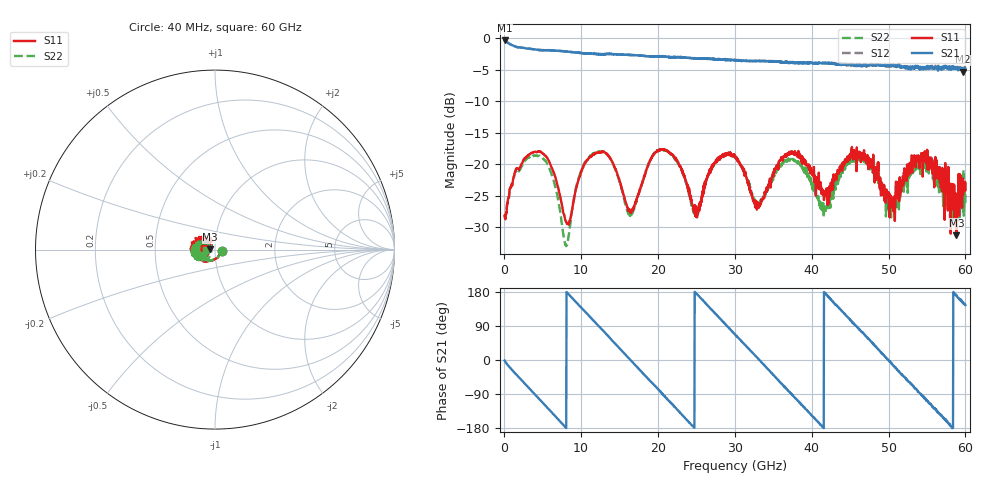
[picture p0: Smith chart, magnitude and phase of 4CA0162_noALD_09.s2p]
! File created by 'SoftPlot +Plus+ Measurement Management Software'
! SoftPlot +Plus+ Measurement Management Software
! Start 40.000000 MHz  Stop 60.000000 GHz  Points 1601
# MHZ S RI R 50
! S-Parameter data, F S11 S21 S12 S22
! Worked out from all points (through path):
!   1601 points, 40 MHz to 60 GHz, reference 50 ohm
!   highest |S21| = -0.37 dB at 40 MHz (marker M1); lowest = -5.3 dB at 59.63 GHz (marker M2)
!   group delay of S21, straight-line fit = 59.7 ps
!   lowest |S11| = -31.3 dB at 58.84 GHz (marker M3), VSWR 1.06, Z = 47.4 + j0.212 ohm
!   |S11| at or under -10 dB: start of sweep to end of sweep
!   |S22| runs from -33.0 to -17.6 dB; largest |S21 - S12| = 0.044
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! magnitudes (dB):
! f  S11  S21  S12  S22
! 40 MHz  -28.2  -0.4  -0.4  -28.2
! 1.502 GHz  -20.9  -1.4  -1.4  -21.1
! 4.687 GHz  -18.1  -1.9  -1.9  -18.7
! 8.06 GHz  -29.1  -2.1  -2.1  -33.0
! 10.05 GHz  -21.2  -2.4  -2.4  -20.9
! 13.23 GHz  -18.2  -2.5  -2.5  -18.2
! 16.42 GHz  -27.5  -2.7  -2.7  -28.0
! 20.05 GHz  -17.9  -2.9  -2.9  -17.8
! 22.56 GHz  -19.6  -3.0  -3.1  -19.8
! 24.92 GHz  -28.3  -3.2  -3.3  -28.3
! 27.43 GHz  -19.6  -3.4  -3.4  -19.7
! 30.02 GHz  -18.9  -3.5  -3.4  -19.0
! 32.91 GHz  -26.1  -3.6  -3.6  -26.5
! 36.62 GHz  -18.5  -3.8  -3.7  -19.5
! 40.03 GHz  -21.7  -3.9  -4.0  -23.0
! 41.75 GHz  -24.3  -3.9  -4.0  -27.0
! 46.51 GHz  -18.5  -4.4  -4.3  -19.1
! 50.03 GHz  -25.4  -4.3  -4.3  -27.7
! 54.79 GHz  -18.1  -4.9  -4.7  -19.7
! 58.84 GHz  -31.3  -4.8  -4.7  -25.1
! 59.63 GHz  -22.3  -5.3  -4.7  -24.6
! 60 GHz  -24.1  -5.0  -4.9  -26.2
